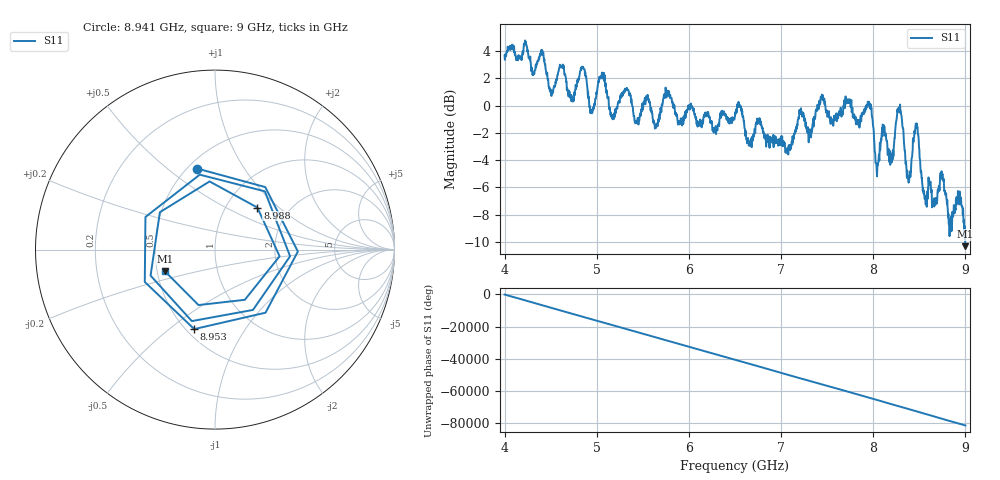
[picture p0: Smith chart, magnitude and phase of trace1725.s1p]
! Created with skrf 1.8.0 (http://scikit-rf.org).
# Hz S RI R 50.0
!freq ReS11 ImS11
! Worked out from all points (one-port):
!   1601 points, 4 GHz to 9 GHz, reference 50 ohm
!   lowest |S11| = -10.3 dB at 9 GHz (marker M1), VSWR 1.88, Z = 27.4 - j7.24 ohm
!   |S11| at or under -10 dB: 8.998025 GHz to end of sweep
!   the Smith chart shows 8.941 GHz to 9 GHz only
!   S11 on the Smith chart (normalised r, x): 8.941 GHz: 0.56, +0.64; 8.953 GHz: 0.55, -0.61; 8.988 GHz: 1.39, +0.73; 9 GHz: 0.55, -0.14
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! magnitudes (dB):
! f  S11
! 4 GHz  3.7
! 4.406 GHz  4.1
! 4.506 GHz  0.8
! 4.625 GHz  2.9
! 4.734 GHz  0.3
! 4.853 GHz  2.8
! 4.944 GHz  -0.4
! 5.053 GHz  2.2
! 5.162 GHz  -0.7
! 5.25 GHz  0.4
! 5.875 GHz  -1.0
! 6.5 GHz  -0.8
! 7.125 GHz  -2.2
! 7.441 GHz  0.8
! 7.75 GHz  0.4
! 7.959 GHz  0.2
! 8.041 GHz  -5.2
! 8.112 GHz  -1.6
! 8.2 GHz  -4.1
! 8.288 GHz  -0.5
! 8.375 GHz  -5.2
! 8.466 GHz  -1.4
! 8.559 GHz  -6.9
! 8.838 GHz  -9.3
! 8.941 GHz  -6.7
! 8.953 GHz  -6.8
! 8.988 GHz  -9.6
! 9 GHz  -10.3
